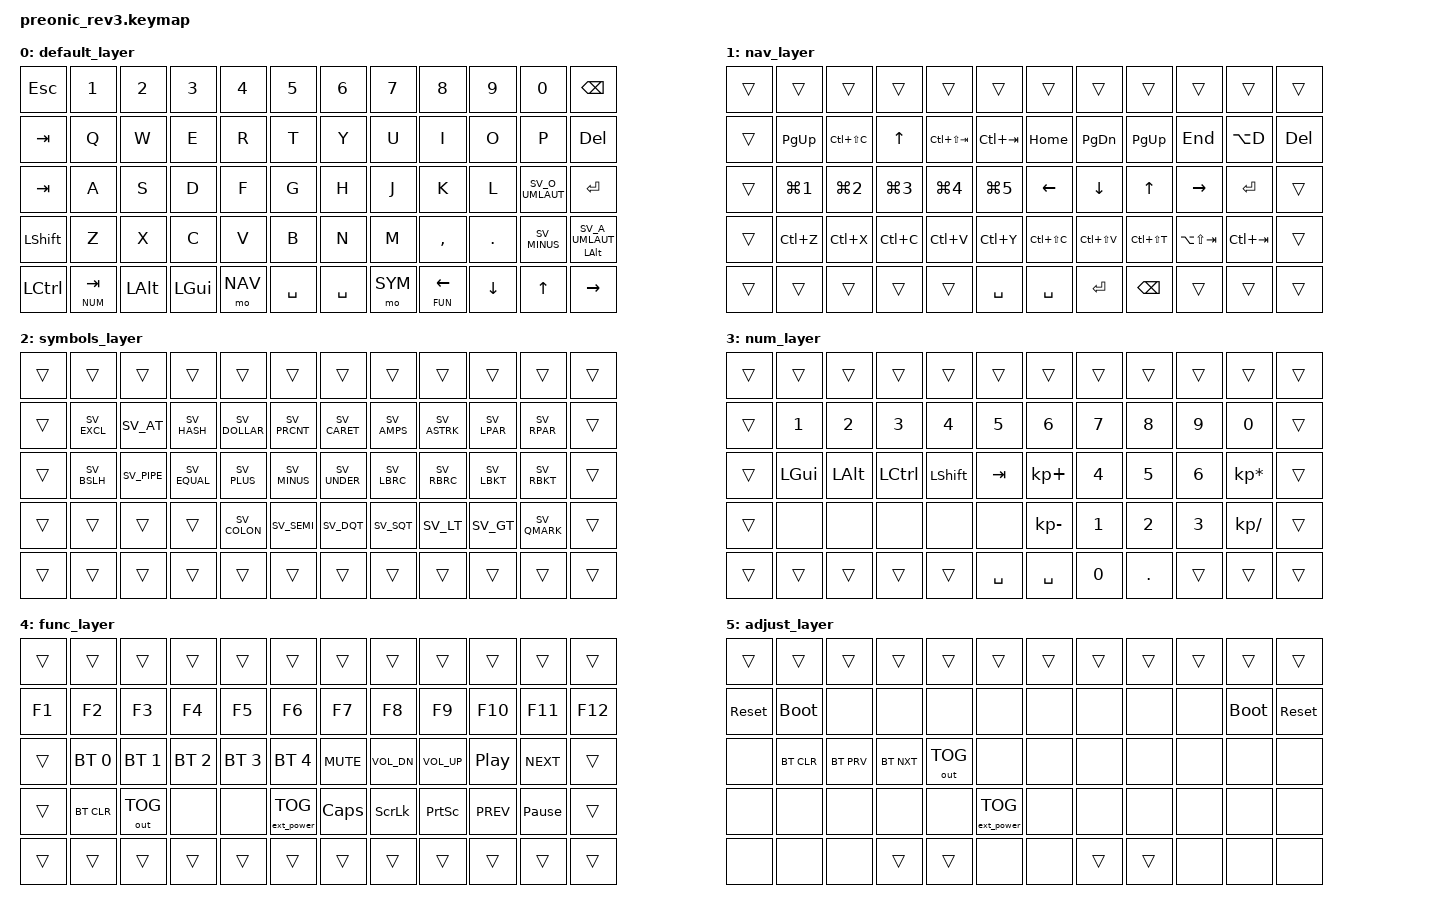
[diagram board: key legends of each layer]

#include <behaviors.dtsi>
#include <dt-bindings/zmk/keys.h>
#include <dt-bindings/zmk/bt.h>
#include <dt-bindings/zmk/outputs.h>
#include <dt-bindings/zmk/ext_power.h>

#include "keys_sv.h"

/* Layer definitions */
#define BASE 0  // Default layer
#define NAV  1  // Navigation and editing
#define SYM  2  // Symbols
#define NUM  3  // Numbers and function keys
#define FUN  4  // Function keys and system controls
#define ADJT 5  // Adjust layer (activated by SYM+NAV)

/* Key position shorthand for combos */
// Top row
#define TL0 0   // Grave/Tilde
#define TL1 1   // 1
#define TL2 2   // 2
#define TL3 3   // 3
#define TL4 4   // 4
#define TL5 5   // 5
#define TR0 6   // 6
#define TR1 7   // 7
#define TR2 8   // 8
#define TR3 9   // 9
#define TR4 10  // 0
#define TR5 11  // Backspace

// Second row
#define SL0 12  // Tab
#define SL1 13  // Q
#define SL2 14  // W
#define SL3 15  // E
#define SL4 16  // R
#define SL5 17  // T
#define SR0 18  // Y
#define SR1 19  // U
#define SR2 20  // I
#define SR3 21  // O
#define SR4 22  // P
#define SR5 23  // Del

// Middle row
#define ML0 24  // Esc
#define ML1 25  // A
#define ML2 26  // S
#define ML3 27  // D
#define ML4 28  // F
#define ML5 29  // G
#define MR0 30  // H
#define MR1 31  // J
#define MR2 32  // K
#define MR3 33  // L
#define MR4 34  // Ö
#define MR5 35  // Ä

// Fourth row
#define FL0 36  // Shift
#define FL1 37  // Z
#define FL2 38  // X
#define FL3 39  // C
#define FL4 40  // V
#define FL5 41  // B
#define FR0 42  // N
#define FR1 43  // M
#define FR2 44  // ,
#define FR3 45  // .
#define FR4 46  // -
#define FR5 47  // Return

// Bottom row
#define BL0 48  // Ctrl
#define BL1 49  // Alt
#define BL2 50  // GUI
#define BL3 51  // Lower/NAV
#define BL4 52  // Space
#define BL5 53  // Space
#define BR0 54  // Space
#define BR1 55  // Raise/SYM
#define BR2 56  // Left
#define BR3 57  // Down
#define BR4 58  // Up
#define BR5 59  // Right

/* Behavior customizations */
&lt {
    flavor = "balanced";
    tapping-term-ms = <200>;
    quick-tap-ms = <125>;
};

&mt {
    flavor = "balanced";
    tapping-term-ms = <200>;
    quick-tap-ms = <125>;
};

/ {
  /* Conditional layers */
    conditional_layers {
        compatible = "zmk,conditional-layers";
        adjust_layer {
            if-layers = <NAV SYM>;
            then-layer = <ADJT>;
        };
    };

    keymap {
        compatible = "zmk,keymap";

        /* BASE layer */
        default_layer {
            bindings = <
                &kp ESC         &kp N1          &kp N2          &kp N3          &kp N4          &kp N5          &kp N6          &kp N7          &kp N8          &kp N9          &kp N0          &kp BSPC
                &kp TAB         &kp Q           &kp W           &kp E           &kp R           &kp T           &kp Y           &kp U           &kp I           &kp O           &kp P           &kp DEL
                &kp TAB         &kp A           &kp S           &kp D           &kp F           &kp G           &kp H           &kp J           &kp K           &kp L           &kp SV_O_UMLAUT  &kp RET
                &kp LSHFT       &kp Z           &kp X           &kp C           &kp V           &kp B           &kp N           &kp M           &kp COMMA       &kp DOT         &kp SV_MINUS    &mt LALT SV_A_UMLAUT
                &kp LCTRL       &lt NUM TAB     &kp LEFT_ALT    &kp LGUI        &mo NAV         &kp SPACE       &kp SPACE       &mo SYM         &lt FUN LEFT    &kp DOWN        &kp UP          &kp RIGHT
            >;
            
            
        };

        /* NAV layer - Navigation and editing controls */
        nav_layer {
            bindings = <
                &trans          &trans          &trans          &trans          &trans          &trans          &trans          &trans          &trans          &trans          &trans          &trans
                &trans          &kp PG_UP       &kp LC(LS(C))   &kp UP          &kp LC(LS(TAB)) &kp LC(TAB)     &kp HOME        &kp PG_DN       &kp PG_UP       &kp END         &kp LA(D)       &kp DEL
                &trans          &kp LG(N1)      &kp LG(N2)      &kp LG(N3)      &kp LG(N4)      &kp LG(N5)      &kp LEFT        &kp DOWN        &kp UP          &kp RIGHT       &kp RET         &trans
                &trans          &kp LC(Z)       &kp LC(X)       &kp LC(C)       &kp LC(V)       &kp LC(Y)       &kp LC(LS(C))   &kp LC(LS(V))   &kp LC(LS(T))   &kp LA(LS(TAB)) &kp LC(TAB)     &trans
                &trans          &trans          &trans          &trans          &trans          &kp SPACE       &kp SPACE       &kp RET         &kp BSPC        &trans          &trans          &trans
            >;
        };

        /* SYM layer - Programming symbols for easy access */
        symbols_layer {
            bindings = <
                &trans          &trans          &trans          &trans          &trans          &trans          &trans          &trans          &trans          &trans          &trans          &trans
                &trans          &kp SV_EXCL     &kp SV_AT       &kp SV_HASH     &kp SV_DOLLAR   &kp SV_PRCNT    &kp SV_CARET    &kp SV_AMPS     &kp SV_ASTRK    &kp SV_LPAR     &kp SV_RPAR     &trans
                &trans          &kp SV_BSLH     &kp SV_PIPE     &kp SV_EQUAL    &kp SV_PLUS     &kp SV_MINUS    &kp SV_UNDER    &kp SV_LBRC     &kp SV_RBRC     &kp SV_LBKT     &kp SV_RBKT     &trans
                &trans          &trans          &trans          &trans          &kp SV_COLON    &kp SV_SEMI     &kp SV_DQT      &kp SV_SQT      &kp SV_LT       &kp SV_GT       &kp SV_QMARK    &trans
                &trans          &trans          &trans          &trans          &trans          &trans          &trans          &trans          &trans          &trans          &trans          &trans
            >;
        };

        /* NUM layer - Numbers and arithmetic */
        num_layer {
            bindings = <
                &trans          &trans          &trans          &trans          &trans          &trans          &trans          &trans          &trans          &trans          &trans          &trans
                &trans          &kp N1          &kp N2          &kp N3          &kp N4          &kp N5          &kp N6          &kp N7          &kp N8          &kp N9          &kp N0          &trans
                &trans          &kp LGUI        &kp LALT        &kp LCTRL       &kp LSHFT       &kp TAB         &kp KP_PLUS     &kp N4          &kp N5          &kp N6          &kp KP_MULTIPLY &trans
                &trans          &none           &none           &none           &none           &none           &kp KP_MINUS    &kp N1          &kp N2          &kp N3          &kp KP_DIVIDE   &trans
                &trans          &trans          &trans          &trans          &trans          &kp SPACE       &kp SPACE       &kp N0          &kp DOT         &trans          &trans          &trans
            >;
            
        };

        /* FUN layer - Function keys and system controls */
        func_layer {
            bindings = <
                &trans          &trans          &trans          &trans          &trans          &trans          &trans          &trans          &trans          &trans          &trans          &trans
                &kp F1          &kp F2          &kp F3          &kp F4          &kp F5          &kp F6          &kp F7          &kp F8          &kp F9          &kp F10         &kp F11         &kp F12
                &trans          &bt BT_SEL 0    &bt BT_SEL 1    &bt BT_SEL 2    &bt BT_SEL 3    &bt BT_SEL 4    &kp C_MUTE      &kp C_VOL_DN    &kp C_VOL_UP    &kp C_PP        &kp C_NEXT      &trans
                &trans          &bt BT_CLR      &out OUT_TOG    &none           &none           &ext_power EP_TOG &kp CAPS      &kp SLCK        &kp PSCRN       &kp C_PREV      &kp PAUSE_BREAK &trans
                &trans          &trans          &trans          &trans          &trans          &trans          &trans          &trans          &trans          &trans          &trans          &trans
            >;
            
            /*
             * FUN Layer (4) - Function keys and system controls
             * ------------------------------------------------
             * ┌─────┬─────┬─────┬─────┬─────┬─────┬─────┬─────┬─────┬─────┬─────┬─────┐
             * │ --- │ --- │ --- │ --- │ --- │ --- │ --- │ --- │ --- │ --- │ --- │ --- │
             * ├─────┼─────┼─────┼─────┼─────┼─────┼─────┼─────┼─────┼─────┼─────┼─────┤
             * │ F1  │ F2  │ F3  │ F4  │ F5  │ F6  │ F7  │ F8  │ F9  │ F10 │ F11 │ F12 │
             * ├─────┼─────┼─────┼─────┼─────┼─────┼─────┼─────┼─────┼─────┼─────┼─────┤
             * │ --- │ BT1 │ BT2 │ BT3 │ BT4 │ BT5 │MUTE │VOL- │VOL+ │PLAY │NEXT │ --- │
             * ├─────┼─────┼─────┼─────┼─────┼─────┼─────┼─────┼─────┼─────┼─────┼─────┤
             * │ --- │BTCLR│OUTG │ --- │ --- │ PWR │CAPS │SLCK │PSCR │PREV │PAUS │ --- │
             * ├─────┼─────┼─────┼─────┼─────┼─────┼─────┼─────┼─────┼─────┼─────┼─────┤
             * │ --- │ --- │ --- │ --- │ --- │ --- │ --- │ --- │ --- │ --- │ --- │ --- │
             * └─────┴─────┴─────┴─────┴─────┴─────┴─────┴─────┴─────┴─────┴─────┴─────┘
             * 
             * Row 2: Function keys F1-F12
             * 
             * Row 3: Bluetooth and media controls
             * BT1-BT5 = Bluetooth profile selection (1-5)
             * MUTE = Volume mute toggle
             * VOL- = Volume down
             * VOL+ = Volume up
             * PLAY = Play/pause media
             * NEXT = Next track
             * 
             * Row 4: System control and special functions
             * BTCLR = Clear all Bluetooth bonds
             * OUTG = Toggle output mode (USB/Bluetooth)
             * PWR = Toggle external power
             * CAPS = Caps Lock
             * SLCK = Scroll Lock
             * PSCR = Print Screen
             * PREV = Previous track
             * PAUS = Pause/Break key
             */
        };

        /* ADJUST layer - Only accessible by holding SYM+NAV */
        adjust_layer {
            bindings = <
                &trans          &trans          &trans          &trans          &trans          &trans          &trans          &trans          &trans          &trans          &trans          &trans
                &sys_reset      &bootloader     &none           &none           &none           &none           &none           &none           &none           &none           &bootloader     &sys_reset
                &none           &bt BT_CLR      &bt BT_PRV      &bt BT_NXT      &out OUT_TOG    &none           &none           &none           &none           &none           &none           &none
                &none           &none           &none           &none           &none           &ext_power EP_TOG &none         &none           &none           &none           &none           &none
                &none           &none           &none           &trans          &trans          &none           &none           &trans          &trans          &none           &none           &none
            >;
            
            /*
             * ADJUST Layer (5) - System functions (activated by NAV+SYM)
             * ----------------------------------------------------------
             * ┌─────┬─────┬─────┬─────┬─────┬─────┬─────┬─────┬─────┬─────┬─────┬─────┐
             * │ --- │ --- │ --- │ --- │ --- │ --- │ --- │ --- │ --- │ --- │ --- │ --- │
             * ├─────┼─────┼─────┼─────┼─────┼─────┼─────┼─────┼─────┼─────┼─────┼─────┤
             * │RESET│BOOT │ --- │ --- │ --- │ --- │ --- │ --- │ --- │ --- │BOOT │RESET│
             * ├─────┼─────┼─────┼─────┼─────┼─────┼─────┼─────┼─────┼─────┼─────┼─────┤
             * │ --- │BTCLR│BTPRV│BTNXT│OUTG │ --- │ --- │ --- │ --- │ --- │ --- │ --- │
             * ├─────┼─────┼─────┼─────┼─────┼─────┼─────┼─────┼─────┼─────┼─────┼─────┤
             * │ --- │ --- │ --- │ --- │ --- │ PWR │ --- │ --- │ --- │ --- │ --- │ --- │
             * ├─────┼─────┼─────┼─────┼─────┼─────┼─────┼─────┼─────┼─────┼─────┼─────┤
             * │ --- │ --- │ --- │ --- │ --- │ --- │ --- │ --- │ --- │ --- │ --- │ --- │
             * └─────┴─────┴─────┴─────┴─────┴─────┴─────┴─────┴─────┴─────┴─────┴─────┘
             * 
             * This is a special layer that activates only when both NAV and SYM layers are active.
             * It contains system-level functions that are intentionally harder to access.
             * 
             * Row 2: System reset functions (corners)
             * RESET = System reset - reboots the keyboard
             * BOOT = Bootloader mode - for flashing new firmware
             * 
             * Row 3: Bluetooth controls
             * BTCLR = Clear all Bluetooth bonds
             * BTPRV = Select previous Bluetooth profile
             * BTNXT = Select next Bluetooth profile
             * OUTG = Toggle output mode (USB/Bluetooth)
             * 
             * Row 4: Power control
             * PWR = Toggle external power
             */
        };
    };
}; 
